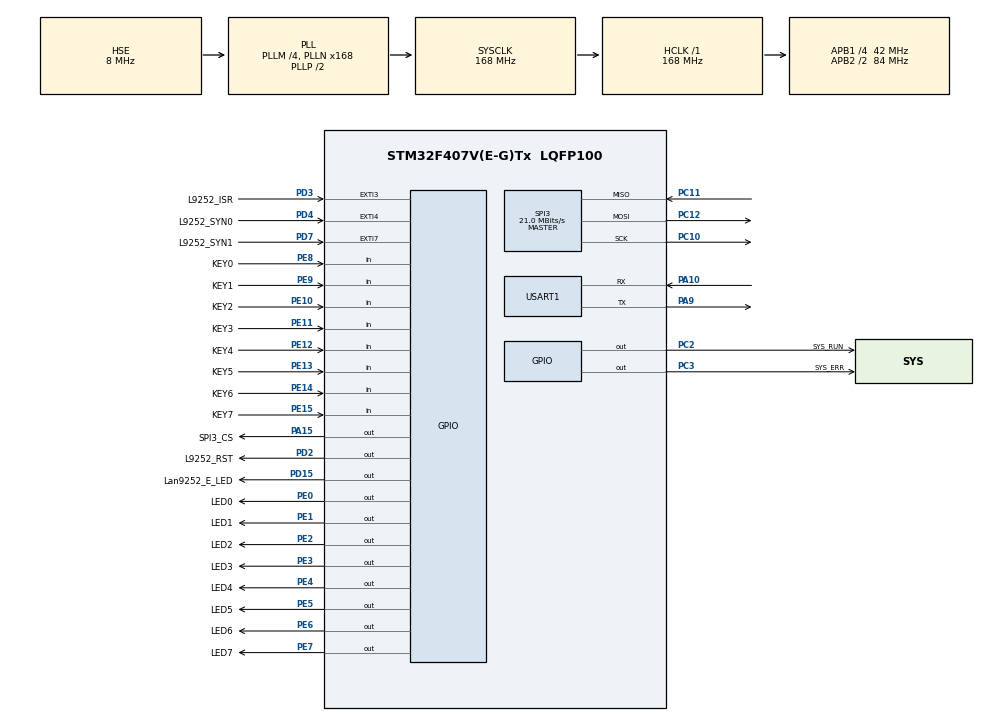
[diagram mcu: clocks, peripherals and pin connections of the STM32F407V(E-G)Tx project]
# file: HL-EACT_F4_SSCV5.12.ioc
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Mcu.Family=STM32F4
Mcu.Name=STM32F407V(E-G)Tx
Mcu.Package=LQFP100
NVIC.EXTI3_IRQn=true\:1\:0\:true\:false\:true\:true\:true\:true
NVIC.EXTI4_IRQn=true\:1\:1\:true\:false\:true\:true\:true\:true
NVIC.EXTI9_5_IRQn=true\:1\:1\:true\:false\:true\:true\:true\:true
NVIC.PriorityGroup=NVIC_PRIORITYGROUP_2
NVIC.TIM6_DAC_IRQn=true\:3\:1\:true\:false\:true\:true\:true\:true
NVIC.TIM7_IRQn=true\:1\:0\:true\:false\:true\:true\:true\:true
PA10.Mode=Asynchronous
PA10.Signal=USART1_RX
PA13.Mode=Serial_Wire
PA13.Signal=SYS_JTMS-SWDIO
PA14.Mode=Serial_Wire
PA14.Signal=SYS_JTCK-SWCLK
PA15.GPIO_Label=SPI3_CS
PA15.GPIO_PuPd=GPIO_PULLUP
PA15.GPIO_Speed=GPIO_SPEED_FREQ_VERY_HIGH
PA15.PinState=GPIO_PIN_SET
PA15.Signal=GPIO_Output
PA9.Mode=Asynchronous
PA9.Signal=USART1_TX
PC10.Mode=Full_Duplex_Master
PC10.Signal=SPI3_SCK
PC11.Mode=Full_Duplex_Master
PC11.Signal=SPI3_MISO
PC12.Mode=Full_Duplex_Master
PC12.Signal=SPI3_MOSI
PC2.GPIO_Label=SYS_RUN
PC2.GPIO_ModeDefaultOutputPP=GPIO_MODE_OUTPUT_PP
PC2.GPIO_PuPd=GPIO_PULLUP
PC2.PinState=GPIO_PIN_SET
PC2.Signal=GPIO_Output
PC3.GPIO_Label=SYS_ERR
PC3.GPIO_PuPd=GPIO_PULLUP
PC3.PinState=GPIO_PIN_SET
PC3.Signal=GPIO_Output
PD15.GPIO_Label=Lan9252_E_LED
PD15.GPIO_PuPd=GPIO_PULLUP
PD15.GPIO_Speed=GPIO_SPEED_FREQ_HIGH
PD15.PinState=GPIO_PIN_SET
PD15.Signal=GPIO_Output
PD2.GPIO_Label=L9252_RST
PD2.GPIO_ModeDefaultOutputPP=GPIO_MODE_OUTPUT_OD
PD2.GPIO_PuPd=GPIO_PULLUP
PD2.GPIO_Speed=GPIO_SPEED_FREQ_HIGH
PD2.PinState=GPIO_PIN_SET
PD2.Signal=GPIO_Output
PD3.GPIO_Label=L9252_ISR
PD3.GPIO_ModeDefaultEXTI=GPIO_MODE_IT_FALLING
PD3.GPIO_PuPd=GPIO_PULLUP
PD3.Signal=GPXTI3
PD4.GPIO_Label=L9252_SYN0
PD4.GPIO_ModeDefaultEXTI=GPIO_MODE_IT_FALLING
PD4.GPIO_PuPd=GPIO_PULLUP
PD4.Signal=GPXTI4
PD7.GPIO_Label=L9252_SYN1
PD7.GPIO_ModeDefaultEXTI=GPIO_MODE_IT_FALLING
PD7.GPIO_PuPd=GPIO_PULLUP
PD7.Signal=GPXTI7
PE0.GPIO_Label=LED0
PE0.GPIO_Speed=GPIO_SPEED_FREQ_LOW
PE0.Signal=GPIO_Output
PE1.GPIO_Label=LED1
PE1.Signal=GPIO_Output
PE10.GPIO_Label=KEY2
PE10.GPIO_PuPd=GPIO_PULLUP
PE10.Signal=GPIO_Input
PE11.GPIO_Label=KEY3
PE11.GPIO_PuPd=GPIO_PULLUP
PE11.Signal=GPIO_Input
PE12.GPIO_Label=KEY4
PE12.GPIO_PuPd=GPIO_PULLUP
PE12.Signal=GPIO_Input
PE13.GPIO_Label=KEY5
PE13.GPIO_PuPd=GPIO_PULLUP
PE13.Signal=GPIO_Input
PE14.GPIO_Label=KEY6
PE14.GPIO_PuPd=GPIO_PULLUP
PE14.Signal=GPIO_Input
PE15.GPIO_Label=KEY7
PE15.GPIO_PuPd=GPIO_PULLUP
PE15.Signal=GPIO_Input
PE2.GPIO_Label=LED2
PE2.Signal=GPIO_Output
PE3.GPIO_Label=LED3
PE3.Signal=GPIO_Output
PE4.GPIO_Label=LED4
PE4.Signal=GPIO_Output
PE5.GPIO_Label=LED5
PE5.Signal=GPIO_Output
PE6.GPIO_Label=LED6
PE6.Signal=GPIO_Output
PE7.GPIO_Label=LED7
PE7.Signal=GPIO_Output
PE8.GPIO_Label=KEY0
PE8.GPIO_PuPd=GPIO_PULLUP
PE8.Signal=GPIO_Input
PE9.GPIO_Label=KEY1
PE9.GPIO_PuPd=GPIO_PULLUP
PE9.Signal=GPIO_Input
PH0-OSC_IN.Mode=HSE-External-Oscillator
PH0-OSC_IN.Signal=RCC_OSC_IN
PH1-OSC_OUT.Mode=HSE-External-Oscillator
PH1-OSC_OUT.Signal=RCC_OSC_OUT
ProjectManager.HeapSize=0x1000
ProjectManager.StackSize=0x2000
ProjectManager.TargetToolchain=CMake
RCC.48MHZClocksFreq_Value=84000000
RCC.AHBFreq_Value=168000000
RCC.APB1CLKDivider=RCC_HCLK_DIV4
RCC.APB1Freq_Value=42000000
RCC.APB1TimFreq_Value=84000000
RCC.APB2CLKDivider=RCC_HCLK_DIV2
RCC.APB2Freq_Value=84000000
RCC.APB2TimFreq_Value=168000000
RCC.CortexFreq_Value=168000000
RCC.EnbaleCSS=true
RCC.HCLKFreq_Value=168000000
RCC.HSE_VALUE=8000000
RCC.HSI_VALUE=16000000
RCC.LSE_VALUE=32768
RCC.PLLM=4
RCC.PLLN=168
RCC.PLLSourceVirtual=RCC_PLLSOURCE_HSE
RCC.SYSCLKFreq_VALUE=168000000
RCC.SYSCLKSource=RCC_SYSCLKSOURCE_PLLCLK
RCC.VCOOutputFreq_Value=336000000
SPI3.BaudRatePrescaler=SPI_BAUDRATEPRESCALER_2
SPI3.CalculateBaudRate=21.0 MBits/s
SPI3.Direction=SPI_DIRECTION_2LINES
SPI3.Mode=SPI_MODE_MASTER
SPI3.VirtualType=VM_MASTER
TIM6.AutoReloadPreload=TIM_AUTORELOAD_PRELOAD_ENABLE
TIM6.Period=100-1
TIM6.Prescaler=8400-1
TIM7.AutoReloadPreload=TIM_AUTORELOAD_PRELOAD_ENABLE
TIM7.Period=1000-1
TIM7.Prescaler=84-1
USART1.VirtualMode=VM_ASYNC
VP_TIM6_VS_ClockSourceINT.Mode=Enable_Timer
VP_TIM7_VS_ClockSourceINT.Mode=Enable_Timer
board=custom

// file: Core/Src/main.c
/* USER CODE BEGIN Header */
/**
  ******************************************************************************
  * @file           : main.c
  * @brief          : Main program body
  ******************************************************************************
  * @attention
  *
  * Copyright (c) 2026 STMicroelectronics.
  * All rights reserved.
  *
  * This software is licensed under terms that can be found in the LICENSE file
  * in the root directory of this software component.
  * If no LICENSE file comes with this software, it is provided AS-IS.
  *
  ******************************************************************************
  */
/* USER CODE END Header */
#include "main.h"
#include "spi.h"
#include "tim.h"
#include "usart.h"
#include "gpio.h"

/* USER CODE BEGIN Includes */
#include "9252_HW.h"
#include "STM32SPIDriver.h"
#include "applInterface.h"
#include "ecatappl.h"
/* USER CODE END Includes */

/* USER CODE BEGIN PV */
static volatile UINT8 s_lan9252_platform_status = LAN9252_PLATFORM_OK;
/* USER CODE END PV */

void SystemClock_Config(void);

int main(void)
{

  /* MCU Configuration--------------------------------------------------------*/

  /* Reset of all peripherals, Initializes the Flash interface and the Systick. */
  HAL_Init();

  /* Configure the system clock */
  SystemClock_Config();

  /* USER CODE BEGIN SysInit */
  /* Keep generated EtherCAT NVIC enables globally masked during startup. */
  __disable_irq();
  /* USER CODE END SysInit */

  /* Initialize all configured peripherals */
  MX_GPIO_Init();
  MX_TIM6_Init();
  MX_SPI3_Init();
  MX_TIM7_Init();
  MX_USART1_UART_Init();
  /* USER CODE BEGIN 2 */
  /* Mask EtherCAT sources before restoring SysTick and other interrupts. */
  LAN9252_PlatformStop();
  __enable_irq();

  s_lan9252_platform_status = LAN9252_PlatformInit();
  if (s_lan9252_platform_status != LAN9252_PLATFORM_OK)
  {
    Error_Handler();
  }

  /* Initialize the LAN9252 ESC after SPI3 and the related GPIO are ready. */
  if (LAN9252_Init() != 0U)
  {
    s_lan9252_platform_status = LAN9252_PLATFORM_STACK_ERROR;
    Error_Handler();
  }

  /* Initialize the EtherCAT slave stack before entering its cyclic loop. */
  if (MainInit() != 0U)
  {
    s_lan9252_platform_status = LAN9252_PLATFORM_STACK_ERROR;
    LAN9252_PlatformStop();
    HW_Release();
    Error_Handler();
  }

  s_lan9252_platform_status = LAN9252_PlatformStart();
  if (s_lan9252_platform_status != LAN9252_PLATFORM_OK)
  {
    LAN9252_PlatformStop();
    HW_Release();
    Error_Handler();
  }

  bRunApplication = TRUE;
  /* USER CODE END 2 */

  /* EtherCAT slave stack loop */
  /* USER CODE BEGIN WHILE */
  while (bRunApplication == TRUE)
  {
    /* USER CODE END WHILE */

    /* USER CODE BEGIN 3 */
    MainLoop();
  }

  LAN9252_PlatformStop();
  HW_Release();
  /* USER CODE END 3 */
}

void SystemClock_Config(void)
{
  RCC_OscInitTypeDef RCC_OscInitStruct = {0};
  RCC_ClkInitTypeDef RCC_ClkInitStruct = {0};

  /** Configure the main internal regulator output voltage
  */
  __HAL_RCC_PWR_CLK_ENABLE();
  __HAL_PWR_VOLTAGESCALING_CONFIG(PWR_REGULATOR_VOLTAGE_SCALE1);

  /** Initializes the RCC Oscillators according to the specified parameters
  * in the RCC_OscInitTypeDef structure.
  */
  RCC_OscInitStruct.OscillatorType = RCC_OSCILLATORTYPE_HSE;
  RCC_OscInitStruct.HSEState = RCC_HSE_ON;
  RCC_OscInitStruct.PLL.PLLState = RCC_PLL_ON;
  RCC_OscInitStruct.PLL.PLLSource = RCC_PLLSOURCE_HSE;
  RCC_OscInitStruct.PLL.PLLM = 4;
  RCC_OscInitStruct.PLL.PLLN = 168;
  RCC_OscInitStruct.PLL.PLLP = RCC_PLLP_DIV2;
  RCC_OscInitStruct.PLL.PLLQ = 4;
  if (HAL_RCC_OscConfig(&RCC_OscInitStruct) != HAL_OK)
  {
    Error_Handler();
  }

  /** Initializes the CPU, AHB and APB buses clocks
  */
  RCC_ClkInitStruct.ClockType = RCC_CLOCKTYPE_HCLK|RCC_CLOCKTYPE_SYSCLK
                              |RCC_CLOCKTYPE_PCLK1|RCC_CLOCKTYPE_PCLK2;
  RCC_ClkInitStruct.SYSCLKSource = RCC_SYSCLKSOURCE_PLLCLK;
  RCC_ClkInitStruct.AHBCLKDivider = RCC_SYSCLK_DIV1;
  RCC_ClkInitStruct.APB1CLKDivider = RCC_HCLK_DIV4;
  RCC_ClkInitStruct.APB2CLKDivider = RCC_HCLK_DIV2;

  if (HAL_RCC_ClockConfig(&RCC_ClkInitStruct, FLASH_LATENCY_5) != HAL_OK)
  {
    Error_Handler();
  }

  /** Enables the Clock Security System
  */
  HAL_RCC_EnableCSS();
}

void Error_Handler(void)
{
  __disable_irq();
  while (1)
  {
  }
}
